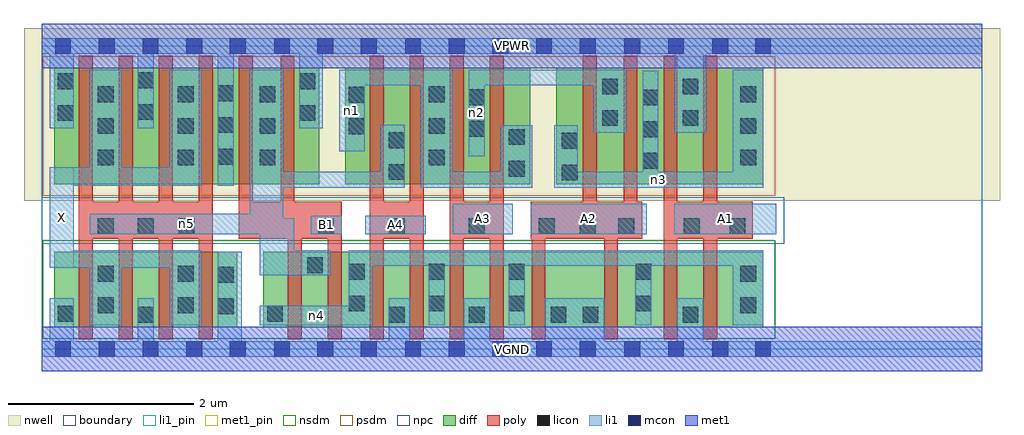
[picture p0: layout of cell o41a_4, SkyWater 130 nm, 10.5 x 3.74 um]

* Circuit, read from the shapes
.subckt o41a_4 A1 A2 A3 A4 B1 VGND VPWR X n1 n2 n3 n4 n5
XM1 X n5 VGND VSUBS sky130_fd_pr__nfet_01v8 w=0.81 l=0.15 m=4
XM2 n5 B1 n4 VSUBS sky130_fd_pr__nfet_01v8 w=0.81 l=0.15 m=2
XM3 VGND A4 n4 VSUBS sky130_fd_pr__nfet_01v8 w=0.81 l=0.15 m=2
XM4 VGND A3 n4 VSUBS sky130_fd_pr__nfet_01v8 w=0.81 l=0.15 m=2
XM5 VGND A2 n4 VSUBS sky130_fd_pr__nfet_01v8 w=0.81 l=0.15 m=2
XM6 VGND A1 n4 VSUBS sky130_fd_pr__nfet_01v8 w=0.81 l=0.15 m=2
XM7 X n5 VPWR n6 sky130_fd_pr__pfet_01v8 w=1.25 l=0.15 m=4
XM8 n5 B1 VPWR n6 sky130_fd_pr__pfet_01v8 w=1.25 l=0.15 m=2
XM9 n5 A4 n1 n6 sky130_fd_pr__pfet_01v8 w=1.25 l=0.15 m=2
XM10 n2 A3 n1 n6 sky130_fd_pr__pfet_01v8 w=1.25 l=0.15 m=2
XM11 n2 A2 n3 n6 sky130_fd_pr__pfet_01v8 w=1.25 l=0.15 m=2
XM12 VPWR A1 n3 n6 sky130_fd_pr__pfet_01v8 w=1.25 l=0.15 m=2
.ends

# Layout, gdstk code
import gdstk
lib = gdstk.Library(unit=1e-6, precision=1e-09)
def R(c, l, rs):  # rectangles x0, y0, x1, y1
    for r in rs: c.add(gdstk.rectangle(r[:2], r[2:], *l))
def A(c, l, x, y, w, h, nx, ny, dx, dy):  # array of equal rectangles
    R(c, l, [(x+i*dx, y+j*dy, x+i*dx+w, y+j*dy+h) for i in range(nx) for j in range(ny)])
nwell = (64, 20)
diff = (65, 20)
poly = (66, 20)
licon = (66, 44)
li1_pin = (67, 16)
li1 = (67, 20)
mcon = (67, 44)
met1_pin = (68, 16)
met1 = (68, 20)
nsdm = (93, 44)
psdm = (94, 20)
npc = (95, 20)
boundary = (235, 4)

o41a_4 = lib.new_cell('o41a_4')
R(o41a_4, nwell, [(-0.19,1.595,10.31,3.45), (0,1.595,10.12,3.45)])
R(o41a_4, diff, [(0.135,0.235,2.105,1.045), (2.385,0.235,7.765,1.045), (0.135,1.775,2.985,3.025), (3.265,1.775,5.255,3.025), (5.535,1.775,7.765,3.025)])
A(o41a_4, poly, 0.4, 0.105, 0.15, 3.05, 4, 1, 0.43, 0)
A(o41a_4, poly, 3.53, 0.105, 0.15, 3.05, 4, 1, 0.43, 0)
R(o41a_4, poly, [(2.65,0.105,2.8,1.585), (3.08,0.105,3.23,1.585), (5.27,0.105,5.42,1.585), (6.05,0.105,6.2,1.585), (6.69,0.105,6.84,3.155), (7.12,0.105,7.27,3.155), (0.4,1.185,1.84,1.585), (2.12,1.185,3.23,1.585), (2.12,1.185,2.27,3.155), (2.57,1.185,2.72,3.155), (3.53,1.185,4.11,1.585), (4.39,1.185,4.97,1.585), (5.26,1.185,6.46,1.585), (5.82,1.185,5.97,3.155), (6.26,1.185,6.41,3.155), (6.69,1.185,7.65,1.585)])
A(o41a_4, licon, 3.305, 0.405, 0.17, 0.17, 3, 2, 0.86, 0.34)
A(o41a_4, licon, 6.465, 1.94, 0.17, 0.17, 1, 3, 0, 0.34)
A(o41a_4, licon, 0.605, 1.975, 0.17, 0.17, 1, 3, 0, 0.34)
A(o41a_4, licon, 1.465, 1.975, 0.17, 0.17, 1, 3, 0, 0.34)
A(o41a_4, licon, 2.345, 1.975, 0.17, 0.17, 1, 3, 0, 0.34)
A(o41a_4, licon, 4.165, 1.975, 0.17, 0.17, 1, 3, 0, 0.34)
A(o41a_4, licon, 7.515, 1.975, 0.17, 0.17, 1, 3, 0, 0.34)
A(o41a_4, licon, 1.895, 1.985, 0.17, 0.17, 1, 3, 0, 0.34)
R(o41a_4, licon, [(1.035,0.285,1.205,0.455), (3.735,0.285,3.905,0.455), (4.595,0.285,4.765,0.455), (5.475,0.285,5.645,0.455), (5.82,0.285,5.99,0.455), (6.895,0.285,7.065,0.455), (0.175,0.295,0.345,0.465), (2.425,0.295,2.595,0.465), (1.895,0.375,2.065,0.545), (0.605,0.385,0.775,0.555), (1.465,0.385,1.635,0.555), (7.515,0.385,7.685,0.555), (6.39,0.405,6.56,0.575), (1.895,0.715,2.065,0.885), (0.605,0.725,0.775,0.895), (1.465,0.725,1.635,0.895), (7.515,0.725,7.685,0.895), (6.39,0.745,6.56,0.915), (2.855,0.815,3.025,0.985), (0.605,1.235,0.775,1.405), (1.035,1.235,1.205,1.405), (1.47,1.235,1.64,1.405), (2.975,1.235,3.145,1.405), (3.735,1.235,3.905,1.405), (4.595,1.235,4.765,1.405), (5.35,1.235,5.52,1.405), (5.79,1.235,5.96,1.405), (6.205,1.235,6.375,1.405), (6.91,1.235,7.08,1.405), (7.4,1.235,7.57,1.405), (5.595,1.815,5.765,1.985), (3.735,1.82,3.905,1.99), (5.025,1.855,5.195,2.025), (5.595,2.155,5.765,2.325), (3.735,2.16,3.905,2.33), (5.025,2.195,5.195,2.365), (4.595,2.285,4.765,2.455), (3.305,2.31,3.475,2.48), (6.03,2.4,6.2,2.57), (6.895,2.4,7.065,2.57), (0.175,2.455,0.345,2.625), (2.775,2.455,2.945,2.625), (1.035,2.465,1.205,2.635), (4.595,2.625,4.765,2.795), (3.305,2.65,3.475,2.82), (6.03,2.74,6.2,2.91), (6.895,2.74,7.065,2.91), (0.175,2.795,0.345,2.965), (2.775,2.795,2.945,2.965), (1.035,2.805,1.205,2.975)])
R(o41a_4, li1_pin, [(0.085,0.875,0.345,1.955), (2.895,1.235,3.23,1.435), (3.48,1.235,4.13,1.435), (4.425,1.235,5.07,1.565), (5.26,1.235,6.51,1.565), (6.805,1.235,7.905,1.565)])
R(o41a_4, li1, [(0,-0.085,10.12,0.085), (0.085,-0.085,0.345,0.545), (1.035,-0.085,1.205,0.545), (1.895,-0.085,2.15,1.045), (3.735,-0.085,3.96,0.545), (4.54,-0.085,4.82,0.545), (5.42,-0.085,6.05,0.545), (6.84,-0.085,7.12,0.545), (0.52,0.255,0.86,1.065), (1.38,0.255,1.72,1.065), (2.345,0.255,3.56,0.465), (3.305,0.255,3.56,1.065), (4.165,0.255,4.335,1.065), (5.025,0.255,5.195,1.065), (6.385,0.255,6.56,1.065), (7.435,0.255,7.765,1.065), (2.345,0.795,3.11,1.065), (2.345,0.795,2.72,1.405), (0.085,0.875,1.72,1.065), (0.085,0.875,0.345,1.955), (3.305,0.895,7.765,1.065), (0.52,1.235,2.6,1.455), (2.24,1.235,2.6,3.005), (2.895,1.235,3.23,1.435), (3.48,1.235,4.13,1.435), (4.425,1.235,5.07,1.565), (5.26,1.235,6.51,1.565), (6.805,1.235,7.905,1.565), (2.24,1.735,3.905,1.905), (3.65,1.735,3.905,2.415), (4.08,1.735,4.42,3.005), (4.08,1.735,5.28,1.905), (4.94,1.735,5.28,2.405), (5.515,1.735,7.765,1.905), (5.515,1.735,5.765,2.405), (6.465,1.735,6.635,2.995), (7.435,1.735,7.765,3.005), (0.085,1.755,1.72,1.955), (0.52,1.755,0.86,3.005), (1.38,1.755,1.72,3.005), (1.895,1.755,2.065,3.345), (4.595,2.075,4.765,3.005), (3.2,2.125,3.475,3.005), (5.94,2.325,6.29,3.005), (6.81,2.325,7.15,3.345), (0.085,2.375,0.345,3.345), (1.035,2.375,1.205,3.345), (2.77,2.375,3.025,3.345), (3.2,2.835,4.42,3.005), (4.595,2.835,6.29,3.005), (0,3.175,10.12,3.345)])
A(o41a_4, mcon, 0.145, -0.085, 0.17, 0.17, 5, 2, 0.47, 3.26)
A(o41a_4, mcon, 3.91, -0.085, 0.17, 0.17, 5, 2, 0.47, 3.26)
R(o41a_4, mcon, [(2.5,-0.085,2.67,0.085), (2.965,-0.085,3.135,0.085), (3.435,-0.085,3.605,0.085), (6.27,-0.085,6.44,0.085), (6.74,-0.085,6.91,0.085), (7.215,-0.085,7.385,0.085), (7.675,-0.085,7.845,0.085), (2.5,3.175,2.67,3.345), (2.965,3.175,3.135,3.345), (3.435,3.175,3.605,3.345), (6.27,3.175,6.44,3.345), (6.74,3.175,6.91,3.345), (7.215,3.175,7.385,3.345), (7.675,3.175,7.845,3.345)])
R(o41a_4, met1_pin, [(0,-0.24,10.12,0.24), (0,3.02,10.12,3.5)])
R(o41a_4, met1, [(0,-0.24,10.12,0.24), (0,3.02,10.12,3.5)])
R(o41a_4, nsdm, [(0.01,0.11,7.89,1.17)])
R(o41a_4, psdm, [(0.01,1.65,7.89,3.15)])
R(o41a_4, npc, [(0,1.135,7.99,1.635)])
R(o41a_4, boundary, [(0,0,10.12,3.26)])
o41a_4.add(gdstk.Label('A1', (7.355,1.4), layer=67, texttype=5))
o41a_4.add(gdstk.Label('A2', (5.885,1.4), layer=67, texttype=5))
o41a_4.add(gdstk.Label('A3', (4.747,1.4), layer=67, texttype=5))
o41a_4.add(gdstk.Label('A4', (3.805,1.335), layer=67, texttype=5))
o41a_4.add(gdstk.Label('B1', (3.062,1.335), layer=67, texttype=5))
o41a_4.add(gdstk.Label('X', (0.215,1.415), layer=67, texttype=5))
o41a_4.add(gdstk.Label('n4', (2.952,0.36), layer=67, texttype=5))
o41a_4.add(gdstk.Label('n5', (1.56,1.345), layer=67, texttype=5))
o41a_4.add(gdstk.Label('n1', (3.337,2.565), layer=67, texttype=5))
o41a_4.add(gdstk.Label('n2', (4.68,2.54), layer=67, texttype=5))
o41a_4.add(gdstk.Label('n3', (6.64,1.82), layer=67, texttype=5))
o41a_4.add(gdstk.Label('VPWR', (5.06,3.26), layer=68, texttype=5))
o41a_4.add(gdstk.Label('VGND', (5.06,0), layer=68, texttype=5))
o41a_4.add(gdstk.Label('A1', (7.355,1.4), layer=67, texttype=16))
o41a_4.add(gdstk.Label('A2', (5.885,1.4), layer=67, texttype=16))
o41a_4.add(gdstk.Label('A3', (4.747,1.4), layer=67, texttype=16))
o41a_4.add(gdstk.Label('A4', (3.805,1.335), layer=67, texttype=16))
o41a_4.add(gdstk.Label('B1', (3.062,1.335), layer=67, texttype=16))
o41a_4.add(gdstk.Label('X', (0.215,1.415), layer=67, texttype=16))
o41a_4.add(gdstk.Label('VPWR', (5.06,3.26), layer=68, texttype=16))
o41a_4.add(gdstk.Label('VGND', (5.06,0), layer=68, texttype=16))

lib.write_gds('o41a_4.gds')
